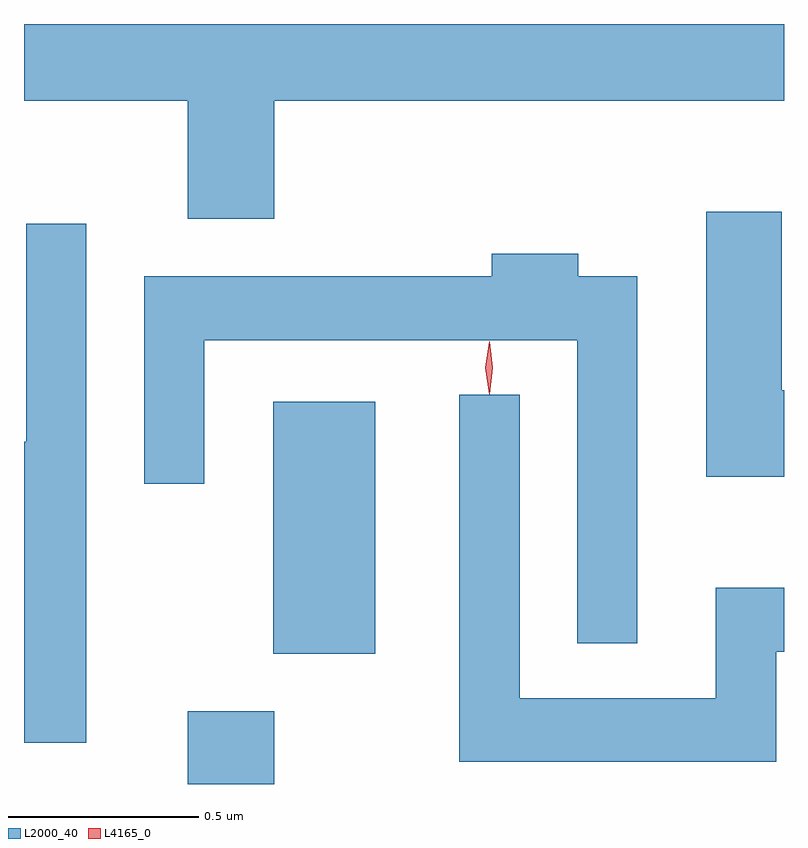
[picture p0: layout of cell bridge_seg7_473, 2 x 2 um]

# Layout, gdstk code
import gdstk
lib = gdstk.Library(unit=1e-6, precision=1e-09)
def R(c, l, rs):  # rectangles x0, y0, x1, y1
    for r in rs: c.add(gdstk.rectangle(r[:2], r[2:], *l))
def P(c, l, *ps):  # polygons
    for p in ps: c.add(gdstk.Polygon(p, *l))
L2000_40 = (2000, 40)
L4165_0 = (4165, 0)

bridge_seg7_473 = lib.new_cell('bridge_seg7_473')
R(bridge_seg7_473, L2000_40, [(1115.251,1714.738,1115.479,1714.929), (1115.476,1715.081,1115.744,1715.744)])
P(bridge_seg7_473, L2000_40, [(1115.479,1716.536),(1116.82,1716.536),(1116.82,1716.738),(1114.82,1716.738),(1114.82,1716.536),(1115.251,1716.536),(1115.251,1716.226),(1115.479,1716.226)],
  [(1116.82,1715.774),(1116.814,1715.774),(1116.814,1716.244),(1116.616,1716.244),(1116.616,1715.546),(1116.82,1715.546)],
  [(1114.984,1716.213),(1114.826,1716.213),(1114.826,1715.639),(1114.82,1715.639),(1114.82,1714.846),(1114.984,1714.846)],
  [(1116.434,1716.074),(1116.279,1716.074),(1116.279,1716.134),(1116.051,1716.134),(1116.051,1716.074),(1115.136,1716.074),(1115.136,1715.528),(1115.294,1715.528),(1115.294,1715.906),(1116.276,1715.906),(1116.276,1715.108),(1116.434,1715.108)],
  [(1116.799,1715.086),(1116.82,1715.086),(1116.82,1715.254),(1116.641,1715.254),(1116.641,1714.964),(1116.124,1714.964),(1116.124,1715.763),(1115.966,1715.763),(1115.966,1714.796),(1116.799,1714.796)])
P(bridge_seg7_473, L4165_0, [(1116.044,1715.764),(1116.044,1715.764),(1116.034,1715.833),(1116.044,1715.902),(1116.044,1715.903),(1116.045,1715.902),(1116.054,1715.833),(1116.045,1715.764)])

lib.write_gds('bridge_seg7_473.gds')
